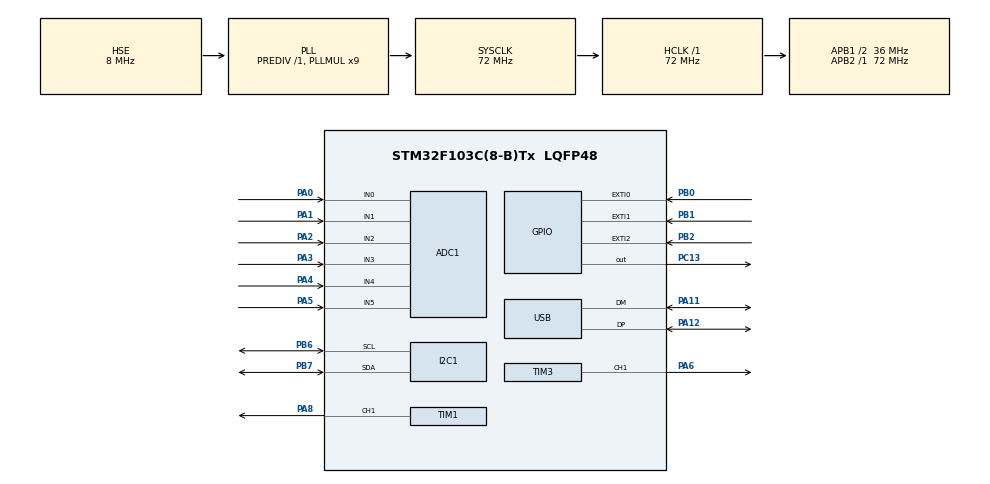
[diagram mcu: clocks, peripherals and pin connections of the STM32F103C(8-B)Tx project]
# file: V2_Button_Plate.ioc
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ADC1.Channel-0\#ChannelRegularConversion=ADC_CHANNEL_0
ADC1.Channel-1\#ChannelRegularConversion=ADC_CHANNEL_1
ADC1.Channel-2\#ChannelRegularConversion=ADC_CHANNEL_2
ADC1.Channel-3\#ChannelRegularConversion=ADC_CHANNEL_3
ADC1.Channel-4\#ChannelRegularConversion=ADC_CHANNEL_4
ADC1.Channel-5\#ChannelRegularConversion=ADC_CHANNEL_5
ADC1.ContinuousConvMode=ENABLE
ADC1.NbrOfConversion=6
ADC1.NbrOfConversionFlag=1
ADC1.Rank-0\#ChannelRegularConversion=1
ADC1.Rank-1\#ChannelRegularConversion=2
ADC1.Rank-2\#ChannelRegularConversion=3
ADC1.Rank-3\#ChannelRegularConversion=4
ADC1.Rank-4\#ChannelRegularConversion=5
ADC1.Rank-5\#ChannelRegularConversion=6
ADC1.SamplingTime-0\#ChannelRegularConversion=ADC_SAMPLETIME_1CYCLE_5
ADC1.SamplingTime-1\#ChannelRegularConversion=ADC_SAMPLETIME_1CYCLE_5
ADC1.SamplingTime-2\#ChannelRegularConversion=ADC_SAMPLETIME_1CYCLE_5
ADC1.SamplingTime-3\#ChannelRegularConversion=ADC_SAMPLETIME_1CYCLE_5
ADC1.SamplingTime-4\#ChannelRegularConversion=ADC_SAMPLETIME_1CYCLE_5
ADC1.SamplingTime-5\#ChannelRegularConversion=ADC_SAMPLETIME_1CYCLE_5
ADC1.master=1
Dma.ADC1.0.Direction=DMA_PERIPH_TO_MEMORY
Dma.ADC1.0.Instance=DMA1_Channel1
Dma.ADC1.0.MemDataAlignment=DMA_MDATAALIGN_HALFWORD
Dma.ADC1.0.MemInc=DMA_MINC_ENABLE
Dma.ADC1.0.Mode=DMA_CIRCULAR
Dma.ADC1.0.PeriphDataAlignment=DMA_PDATAALIGN_HALFWORD
Dma.ADC1.0.PeriphInc=DMA_PINC_DISABLE
Dma.ADC1.0.Priority=DMA_PRIORITY_LOW
Dma.Request0=ADC1
Dma.Request1=TIM1_CH1
Dma.TIM1_CH1.1.Direction=DMA_MEMORY_TO_PERIPH
Dma.TIM1_CH1.1.Instance=DMA1_Channel2
Dma.TIM1_CH1.1.MemDataAlignment=DMA_MDATAALIGN_HALFWORD
Dma.TIM1_CH1.1.MemInc=DMA_MINC_ENABLE
Dma.TIM1_CH1.1.Mode=DMA_NORMAL
Dma.TIM1_CH1.1.PeriphDataAlignment=DMA_PDATAALIGN_HALFWORD
Dma.TIM1_CH1.1.PeriphInc=DMA_PINC_DISABLE
Dma.TIM1_CH1.1.Priority=DMA_PRIORITY_LOW
I2C1.I2C_Mode=I2C_Standard
Mcu.Family=STM32F1
Mcu.Name=STM32F103C(8-B)Tx
Mcu.Package=LQFP48
NVIC.DMA1_Channel1_IRQn=true\:2\:0\:true\:false\:true\:false\:true\:true
NVIC.DMA1_Channel2_IRQn=true\:1\:0\:true\:false\:true\:false\:true\:true
NVIC.EXTI0_IRQn=true\:3\:0\:true\:false\:true\:true\:true\:true
NVIC.EXTI1_IRQn=true\:3\:0\:true\:false\:true\:true\:true\:true
NVIC.EXTI2_IRQn=true\:3\:0\:true\:false\:true\:true\:true\:true
NVIC.PriorityGroup=NVIC_PRIORITYGROUP_4
NVIC.TIM4_IRQn=true\:2\:0\:true\:false\:true\:true\:true\:true
NVIC.USB_LP_CAN1_RX0_IRQn=true\:0\:0\:false\:false\:true\:false\:true\:true
PA0-WKUP.Signal=ADCx_IN0
PA1.Signal=ADCx_IN1
PA11.Mode=Device
PA11.Signal=USB_DM
PA12.Mode=Device
PA12.Signal=USB_DP
PA13.Mode=Serial_Wire
PA13.Signal=SYS_JTMS-SWDIO
PA14.Mode=Serial_Wire
PA14.Signal=SYS_JTCK-SWCLK
PA2.Signal=ADCx_IN2
PA3.Signal=ADCx_IN3
PA4.Signal=ADCx_IN4
PA5.Signal=ADCx_IN5
PA6.Signal=S_TIM3_CH1
PA8.Signal=S_TIM1_CH1
PB0.GPIO_ModeDefaultEXTI=GPIO_MODE_IT_FALLING
PB0.GPIO_PuPd=GPIO_PULLUP
PB0.Signal=GPXTI0
PB1.GPIO_ModeDefaultEXTI=GPIO_MODE_IT_FALLING
PB1.GPIO_PuPd=GPIO_PULLUP
PB1.Signal=GPXTI1
PB2.GPIO_ModeDefaultEXTI=GPIO_MODE_IT_FALLING
PB2.GPIO_PuPd=GPIO_PULLUP
PB2.Signal=GPXTI2
PB6.Mode=I2C
PB6.Signal=I2C1_SCL
PB7.Mode=I2C
PB7.Signal=I2C1_SDA
PC13-TAMPER-RTC.Signal=GPIO_Output
PD0-OSC_IN.Mode=HSE-External-Oscillator
PD0-OSC_IN.Signal=RCC_OSC_IN
PD1-OSC_OUT.Mode=HSE-External-Oscillator
PD1-OSC_OUT.Signal=RCC_OSC_OUT
ProjectManager.HeapSize=0x200
ProjectManager.StackSize=0x400
ProjectManager.TargetToolchain=CMake
RCC.ADCPresc=RCC_ADCPCLK2_DIV6
RCC.AHBFreq_Value=72000000
RCC.APB1CLKDivider=RCC_HCLK_DIV2
RCC.APB1Freq_Value=36000000
RCC.APB1TimFreq_Value=72000000
RCC.APB2Freq_Value=72000000
RCC.APB2TimFreq_Value=72000000
RCC.HCLKFreq_Value=72000000
RCC.PLLMUL=RCC_PLL_MUL9
RCC.SYSCLKFreq_VALUE=72000000
RCC.SYSCLKSource=RCC_SYSCLKSOURCE_PLLCLK
RCC.USBFreq_Value=48000000
RCC.USBPrescaler=RCC_USBCLKSOURCE_PLL_DIV1_5
SH.ADCx_IN0.0=ADC1_IN0,IN0
SH.ADCx_IN1.0=ADC1_IN1,IN1
SH.ADCx_IN2.0=ADC1_IN2,IN2
SH.ADCx_IN3.0=ADC1_IN3,IN3
SH.ADCx_IN4.0=ADC1_IN4,IN4
SH.ADCx_IN5.0=ADC1_IN5,IN5
SH.S_TIM1_CH1.0=TIM1_CH1,PWM Generation1 CH1
SH.S_TIM3_CH1.0=TIM3_CH1,PWM Generation1 CH1
TIM1.Channel-PWM\ Generation1\ CH1=TIM_CHANNEL_1
TIM1.Period=90-1
TIM3.AutoReloadPreload=TIM_AUTORELOAD_PRELOAD_ENABLE
TIM3.Channel-PWM\ Generation1\ CH1=TIM_CHANNEL_1
TIM3.Period=2250
TIM3.Pulse-PWM\ Generation1\ CH1=1125
TIM4.Period=35999
TIM4.Prescaler=1
USB_DEVICE.CLASS_NAME_FS=CUSTOM_HID
USB_DEVICE.MANUFACTURER_STRING=VElectronics
USB_DEVICE.PID_CUSTOMHID_FS=5177
USB_DEVICE.PRODUCT_STRING_CUSTOMHID_FS=V2 Button Plate
USB_DEVICE.USBD_CUSTOMHID_OUTREPORT_BUF_SIZE=64
USB_DEVICE.USBD_CUSTOM_HID_REPORT_DESC_SIZE=119
USB_DEVICE.VID=1155
USB_DEVICE.VirtualMode=CustomHid
USB_DEVICE.VirtualModeFS=Custom_Hid_FS
VP_TIM3_VS_ClockSourceINT.Mode=Internal
VP_TIM4_VS_ClockSourceINT.Mode=Internal
VP_USB_DEVICE_VS_USB_DEVICE_CUSTOM_HID_FS.Mode=CUSTOM_HID_FS
board=custom

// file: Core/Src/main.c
/* USER CODE BEGIN Header */
/**
  ******************************************************************************
  * @file           : main.c
  * @brief          : Main program body
  ******************************************************************************
  * @attention
  *
  * Copyright (c) 2026 STMicroelectronics.
  * All rights reserved.
  *
  * This software is licensed under terms that can be found in the LICENSE file
  * in the root directory of this software component.
  * If no LICENSE file comes with this software, it is provided AS-IS.
  *
  ******************************************************************************
  */
/* USER CODE END Header */
#include "main.h"
#include "adc.h"
#include "dma.h"
#include "i2c.h"
#include "tim.h"
#include "usb_device.h"
#include "gpio.h"

/* USER CODE BEGIN Includes */
#include "BSP/adc_input.h"
#include "BSP/usb_hid_report.h"
#include "BSP/calibration.h"
#include "BSP/shifters.h"
#include "BSP/pcal6524.h"
#include "BSP/ws2812b.h"
#include "stm32f1xx_it.h"
#include "usbd_custom_hid_if.h"
#include "BSP/helpers.h"

/* USER CODE END Includes */

/* USER CODE BEGIN PD */
#define MS_TIME_FOR_SEND_REPORT 20
#define INPUT_U1_OFFSET         1
#define INPUT_U2_OFFSET         3
#define INPUT_U5_OFFSET         5

/* USER CODE END PD */

/* USER CODE BEGIN PV */
extern DMA_HandleTypeDef hdma_adc1;
/* USER CODE END PV */

void SystemClock_Config(void);

int main(void)
{

  /* MCU Configuration--------------------------------------------------------*/

  /* Reset of all peripherals, Initializes the Flash interface and the Systick. */
  HAL_Init();

  /* Configure the system clock */
  SystemClock_Config();

  /* Initialize all configured peripherals */
  MX_DMA_Init();
  MX_GPIO_Init();
  MX_ADC1_Init();
  MX_I2C1_Init();
  MX_TIM1_Init();
  MX_TIM3_Init();
  MX_USB_DEVICE_Init();
  MX_TIM4_Init();
  /* USER CODE BEGIN 2 */
  HAL_TIM_Base_Start_IT(&htim4);
  HAL_TIM_PWM_Start(&htim3, TIM_CHANNEL_1);
  usb_hid_init(); // Initialize USB HID report structure
  HAL_ADC_Start_DMA(&hadc1, (uint32_t*)adc_raw_input, 6);
  __HAL_DMA_DISABLE_IT(&hdma_adc1, DMA_IT_TC | DMA_IT_HT); // Circular DMA doesn't need interrupts
  HAL_Delay(10); // Allow ADC to stabilize
  adc_input_init(); // Initialize magnetic shifters
  calibration_init();
  Load_Calibration_Data(); // Load calibration data from flash memory
  shifter_init(); // Initialize the shifters based on calibration data
  PCAL6524_init(&hi2c1, PCAL6524_I2C_ADDR_U1, PCAL6524_I2C_ADDR_U2, PCAL6524_I2C_ADDR_U5, 100);
  PCAL6524_register_init();

  ws2812_init(&htim1, TIM_CHANNEL_1); // Initialize WS2812B with the timer and channel
  HAL_GPIO_WritePin(GPIOC, GPIO_PIN_13, GPIO_PIN_SET);

  /* USER CODE END 2 */

  /* Infinite loop */
  /* USER CODE BEGIN WHILE */
  while (1)
  {
    if (g_flag_U1) {
      assign_inputs_to_HID_structure(g_input_data_U1, INPUT_U1_OFFSET);
      g_flag_U1 = 0;
    }
    else if (g_flag_U2) {
      assign_inputs_to_HID_structure(g_input_data_U2, INPUT_U2_OFFSET);
      g_flag_U2 = 0;
    }
    else if (g_flag_U5) {
      assign_inputs_to_HID_structure(g_input_data_U5, INPUT_U5_OFFSET);
      g_flag_U5 = 0;
    }
    if (time1 == 0) {
      usb_hid_send_report(&HID_InputReport);
      time1 = MS_TIME_FOR_SEND_REPORT;
    }
    // --- WS2812B LED update (triggered by SimHub draw flag) ---
    if (g_flag_led_update)
    {
        ws2812_update();
        g_flag_led_update = 0;
    }

    // --- SimHub keepalive timeout (6 seconds) ---
    // SimHub sends a keepalive draw every 5 seconds.
    // If we don't hear from it in 6 seconds, assume it disconnected.
    // NOTE: simhub_keepalive_counter should be incremented in your
    //       SysTick or TIM4 interrupt every 1ms.
    if (g_simhub_connected && simhub_keepalive_counter > 6000)
    {
        memset(led_buffer, 0, sizeof(led_buffer));
        ws2812_update();
        g_simhub_connected = 0;
        simhub_keepalive_counter = 0;
    }

    /* USER CODE END WHILE */

  }
}

void SystemClock_Config(void)
{
  RCC_OscInitTypeDef RCC_OscInitStruct = {0};
  RCC_ClkInitTypeDef RCC_ClkInitStruct = {0};
  RCC_PeriphCLKInitTypeDef PeriphClkInit = {0};

  /** Initializes the RCC Oscillators according to the specified parameters
  * in the RCC_OscInitTypeDef structure.
  */
  RCC_OscInitStruct.OscillatorType = RCC_OSCILLATORTYPE_HSE;
  RCC_OscInitStruct.HSEState = RCC_HSE_ON;
  RCC_OscInitStruct.HSEPredivValue = RCC_HSE_PREDIV_DIV1;
  RCC_OscInitStruct.HSIState = RCC_HSI_ON;
  RCC_OscInitStruct.PLL.PLLState = RCC_PLL_ON;
  RCC_OscInitStruct.PLL.PLLSource = RCC_PLLSOURCE_HSE;
  RCC_OscInitStruct.PLL.PLLMUL = RCC_PLL_MUL9;
  if (HAL_RCC_OscConfig(&RCC_OscInitStruct) != HAL_OK)
  {
    Error_Handler();
  }

  /** Initializes the CPU, AHB and APB buses clocks
  */
  RCC_ClkInitStruct.ClockType = RCC_CLOCKTYPE_HCLK|RCC_CLOCKTYPE_SYSCLK
                              |RCC_CLOCKTYPE_PCLK1|RCC_CLOCKTYPE_PCLK2;
  RCC_ClkInitStruct.SYSCLKSource = RCC_SYSCLKSOURCE_PLLCLK;
  RCC_ClkInitStruct.AHBCLKDivider = RCC_SYSCLK_DIV1;
  RCC_ClkInitStruct.APB1CLKDivider = RCC_HCLK_DIV2;
  RCC_ClkInitStruct.APB2CLKDivider = RCC_HCLK_DIV1;

  if (HAL_RCC_ClockConfig(&RCC_ClkInitStruct, FLASH_LATENCY_2) != HAL_OK)
  {
    Error_Handler();
  }
  PeriphClkInit.PeriphClockSelection = RCC_PERIPHCLK_ADC|RCC_PERIPHCLK_USB;
  PeriphClkInit.AdcClockSelection = RCC_ADCPCLK2_DIV6;
  PeriphClkInit.UsbClockSelection = RCC_USBCLKSOURCE_PLL_DIV1_5;
  if (HAL_RCCEx_PeriphCLKConfig(&PeriphClkInit) != HAL_OK)
  {
    Error_Handler();
  }
}

void Error_Handler(void)
{
  __disable_irq();
  while (1)
  {
  }
}
